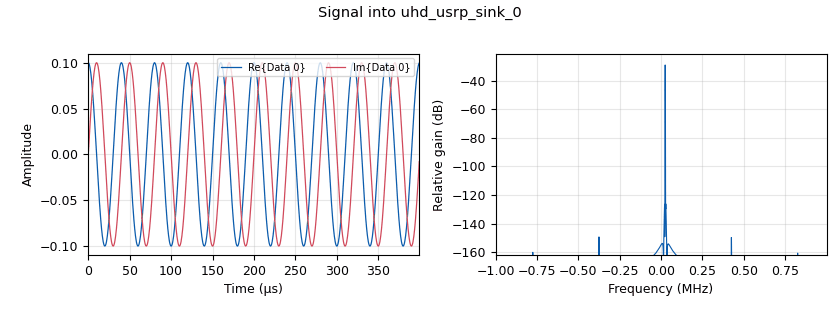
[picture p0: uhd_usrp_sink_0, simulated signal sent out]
<?xml version='1.0' encoding='utf-8'?>
<?grc format='1' created='3.7.5'?>
<flow_graph>
<block>
<key>options</key>
<param><key>id</key><value>top_block</value></param>
<param><key>generate_options</key><value>wx_gui</value></param>
<param><key>category</key><value>Custom</value></param>
</block>
<block>
<key>variable</key>
<param><key>id</key><value>samp_rate</value></param>
<param><key>value</key><value>2e6</value></param>
</block>
<block>
<key>variable</key>
<param><key>id</key><value>central_freq</value></param>
<param><key>_enabled</key><value>False</value></param>
<param><key>value</key><value>0</value></param>
</block>
<block>
<key>analog_random_source_x</key>
<param><key>id</key><value>analog_random_source_x_0</value></param>
<param><key>_enabled</key><value>False</value></param>
<param><key>type</key><value>int</value></param>
<param><key>min</key><value>0</value></param>
<param><key>max</key><value>2</value></param>
<param><key>num_samps</key><value>1000</value></param>
<param><key>repeat</key><value>True</value></param>
</block>
<block>
<key>analog_sig_source_x</key>
<param><key>id</key><value>analog_sig_source_x_0_0</value></param>
<param><key>_enabled</key><value>False</value></param>
<param><key>type</key><value>complex</value></param>
<param><key>samp_rate</key><value>samp_rate</value></param>
<param><key>waveform</key><value>analog.GR_SQR_WAVE</value></param>
<param><key>freq</key><value>freq</value></param>
<param><key>amp</key><value>0</value></param>
<param><key>offset</key><value>0</value></param>
</block>
<block>
<key>blocks_int_to_float</key>
<param><key>id</key><value>blocks_int_to_float_0_0</value></param>
<param><key>_enabled</key><value>False</value></param>
<param><key>scale</key><value>1</value></param>
</block>
<block>
<key>blocks_int_to_float</key>
<param><key>id</key><value>blocks_int_to_float_0</value></param>
<param><key>_enabled</key><value>False</value></param>
<param><key>scale</key><value>1</value></param>
</block>
<block>
<key>analog_const_source_x</key>
<param><key>id</key><value>analog_const_source_x_0_0</value></param>
<param><key>_enabled</key><value>False</value></param>
<param><key>type</key><value>int</value></param>
<param><key>const</key><value>0</value></param>
</block>
<block>
<key>wxgui_scopesink2</key>
<param><key>id</key><value>wxgui_scopesink2_0_0</value></param>
<param><key>_enabled</key><value>False</value></param>
<param><key>type</key><value>complex</value></param>
<param><key>title</key><value>Scope Plot</value></param>
<param><key>samp_rate</key><value>samp_rate</value></param>
<param><key>v_scale</key><value>0</value></param>
<param><key>v_offset</key><value>0</value></param>
<param><key>t_scale</key><value>0</value></param>
<param><key>ac_couple</key><value>False</value></param>
<param><key>xy_mode</key><value>False</value></param>
<param><key>num_inputs</key><value>1</value></param>
<param><key>trig_mode</key><value>wxgui.TRIG_MODE_AUTO</value></param>
<param><key>y_axis_label</key><value>Counts</value></param>
</block>
<block>
<key>analog_pll_refout_cc</key>
<param><key>id</key><value>analog_pll_refout_cc_0</value></param>
<param><key>_enabled</key><value>False</value></param>
<param><key>w</key><value>1e2</value></param>
<param><key>max_freq</key><value>1e2</value></param>
<param><key>min_freq</key><value>1</value></param>
</block>
<block>
<key>wxgui_scopesink2</key>
<param><key>id</key><value>wxgui_scopesink2_0_1</value></param>
<param><key>_enabled</key><value>False</value></param>
<param><key>type</key><value>complex</value></param>
<param><key>title</key><value>Scope Plot</value></param>
<param><key>samp_rate</key><value>samp_rate</value></param>
<param><key>v_scale</key><value>0</value></param>
<param><key>v_offset</key><value>0</value></param>
<param><key>t_scale</key><value>0</value></param>
<param><key>ac_couple</key><value>False</value></param>
<param><key>xy_mode</key><value>False</value></param>
<param><key>num_inputs</key><value>1</value></param>
<param><key>trig_mode</key><value>wxgui.TRIG_MODE_AUTO</value></param>
<param><key>y_axis_label</key><value>Counts</value></param>
</block>
<block>
<key>band_pass_filter</key>
<param><key>id</key><value>band_pass_filter_0</value></param>
<param><key>_enabled</key><value>False</value></param>
<param><key>type</key><value>fir_filter_ccf</value></param>
<param><key>decim</key><value>1</value></param>
<param><key>gain</key><value>1</value></param>
<param><key>samp_rate</key><value>samp_rate</value></param>
<param><key>low_cutoff_freq</key><value>1e3</value></param>
<param><key>high_cutoff_freq</key><value>100e3</value></param>
<param><key>width</key><value>1e3</value></param>
<param><key>win</key><value>firdes.WIN_HAMMING</value></param>
</block>
<block>
<key>digital_glfsr_source_x</key>
<param><key>id</key><value>digital_glfsr_source_x_0</value></param>
<param><key>_enabled</key><value>False</value></param>
<param><key>type</key><value>float</value></param>
<param><key>degree</key><value>32</value></param>
<param><key>repeat</key><value>True</value></param>
<param><key>mask</key><value>0</value></param>
<param><key>seed</key><value>1</value></param>
</block>
<block>
<key>blocks_float_to_complex</key>
<param><key>id</key><value>blocks_float_to_complex_0</value></param>
<param><key>_enabled</key><value>False</value></param>
</block>
<block>
<key>wxgui_scopesink2</key>
<param><key>id</key><value>wxgui_scopesink2_0_0_0</value></param>
<param><key>_enabled</key><value>False</value></param>
<param><key>type</key><value>complex</value></param>
<param><key>title</key><value>Scope Plot</value></param>
<param><key>samp_rate</key><value>samp_rate</value></param>
<param><key>v_scale</key><value>0</value></param>
<param><key>v_offset</key><value>0</value></param>
<param><key>t_scale</key><value>0</value></param>
<param><key>ac_couple</key><value>False</value></param>
<param><key>xy_mode</key><value>False</value></param>
<param><key>num_inputs</key><value>1</value></param>
<param><key>trig_mode</key><value>wxgui.TRIG_MODE_AUTO</value></param>
<param><key>y_axis_label</key><value>Counts</value></param>
</block>
<block>
<key>blocks_file_sink</key>
<param><key>id</key><value>blocks_file_sink_0</value></param>
<param><key>_enabled</key><value>False</value></param>
<param><key>file</key><value>/home/mvnl-tmax/front10m500kwithC1M.txt</value></param>
<param><key>type</key><value>complex</value></param>
<param><key>unbuffered</key><value>True</value></param>
</block>
<block>
<key>blocks_file_source</key>
<param><key>id</key><value>blocks_file_source_0</value></param>
<param><key>_enabled</key><value>False</value></param>
<param><key>file</key><value>/home/mvnl-tmax/Downloads/src_data_1.bin</value></param>
<param><key>type</key><value>complex</value></param>
<param><key>repeat</key><value>True</value></param>
</block>
<block>
<key>analog_const_source_x</key>
<param><key>id</key><value>analog_const_source_x_0</value></param>
<param><key>_enabled</key><value>False</value></param>
<param><key>type</key><value>complex</value></param>
<param><key>const</key><value>const_amp</value></param>
</block>
<block>
<key>uhd_usrp_sink</key>
<param><key>id</key><value>uhd_usrp_sink_0</value></param>
<param><key>type</key><value>fc32</value></param>
<param><key>dev_addr</key><value>addr=192.168.91.7</value></param>
<param><key>dev_args</key><value>""</value></param>
<param><key>sync</key><value></value></param>
<param><key>clock_rate</key><value>0.0</value></param>
<param><key>sd_spec0</key><value>A:A</value></param>
<param><key>samp_rate</key><value>samp_rate</value></param>
<param><key>center_freq0</key><value>central_freq</value></param>
<param><key>gain0</key><value>0</value></param>
<param><key>ant0</key><value></value></param>
<param><key>len_tag_name</key><value></value></param>
</block>
<block>
<key>low_pass_filter</key>
<param><key>id</key><value>low_pass_filter_0</value></param>
<param><key>_enabled</key><value>False</value></param>
<param><key>type</key><value>fir_filter_ccf</value></param>
<param><key>decim</key><value>1</value></param>
<param><key>gain</key><value>1</value></param>
<param><key>samp_rate</key><value>samp_rate</value></param>
<param><key>cutoff_freq</key><value>freq*0.75</value></param>
<param><key>width</key><value>100e3</value></param>
<param><key>win</key><value>firdes.WIN_HAMMING</value></param>
</block>
<block>
<key>wxgui_scopesink2</key>
<param><key>id</key><value>wxgui_scopesink2_0</value></param>
<param><key>type</key><value>complex</value></param>
<param><key>title</key><value>Scope Plot</value></param>
<param><key>samp_rate</key><value>samp_rate</value></param>
<param><key>v_scale</key><value>0</value></param>
<param><key>v_offset</key><value>0</value></param>
<param><key>t_scale</key><value>0</value></param>
<param><key>ac_couple</key><value>False</value></param>
<param><key>xy_mode</key><value>False</value></param>
<param><key>num_inputs</key><value>1</value></param>
<param><key>trig_mode</key><value>wxgui.TRIG_MODE_AUTO</value></param>
<param><key>y_axis_label</key><value>Counts</value></param>
</block>
<block>
<key>variable_slider</key>
<param><key>id</key><value>central_freq</value></param>
<param><key>label</key><value></value></param>
<param><key>value</key><value>0</value></param>
<param><key>min</key><value>0</value></param>
<param><key>max</key><value>20e6</value></param>
<param><key>num_steps</key><value>200</value></param>
<param><key>style</key><value>wx.SL_HORIZONTAL</value></param>
<param><key>converver</key><value>float_converter</value></param>
</block>
<block>
<key>variable_slider</key>
<param><key>id</key><value>central_freq</value></param>
<param><key>_enabled</key><value>False</value></param>
<param><key>label</key><value></value></param>
<param><key>value</key><value>2e6</value></param>
<param><key>min</key><value>0</value></param>
<param><key>max</key><value>30e6</value></param>
<param><key>num_steps</key><value>150</value></param>
<param><key>style</key><value>wx.SL_HORIZONTAL</value></param>
<param><key>converver</key><value>float_converter</value></param>
</block>
<block>
<key>variable_slider</key>
<param><key>id</key><value>freq</value></param>
<param><key>label</key><value></value></param>
<param><key>value</key><value>25e3</value></param>
<param><key>min</key><value>0</value></param>
<param><key>max</key><value>1e6</value></param>
<param><key>num_steps</key><value>200</value></param>
<param><key>style</key><value>wx.SL_HORIZONTAL</value></param>
<param><key>converver</key><value>float_converter</value></param>
</block>
<block>
<key>variable_slider</key>
<param><key>id</key><value>const_amp</value></param>
<param><key>label</key><value></value></param>
<param><key>value</key><value>0.1</value></param>
<param><key>min</key><value>0</value></param>
<param><key>max</key><value>1</value></param>
<param><key>num_steps</key><value>100</value></param>
<param><key>style</key><value>wx.SL_HORIZONTAL</value></param>
<param><key>converver</key><value>float_converter</value></param>
</block>
<block>
<key>variable_slider</key>
<param><key>id</key><value>offset</value></param>
<param><key>label</key><value></value></param>
<param><key>value</key><value>0</value></param>
<param><key>min</key><value>-1</value></param>
<param><key>max</key><value>1</value></param>
<param><key>num_steps</key><value>200</value></param>
<param><key>style</key><value>wx.SL_HORIZONTAL</value></param>
<param><key>converver</key><value>float_converter</value></param>
</block>
<block>
<key>analog_sig_source_x</key>
<param><key>id</key><value>analog_sig_source_x_0</value></param>
<param><key>type</key><value>complex</value></param>
<param><key>samp_rate</key><value>samp_rate</value></param>
<param><key>waveform</key><value>analog.GR_SIN_WAVE</value></param>
<param><key>freq</key><value>freq</value></param>
<param><key>amp</key><value>const_amp</value></param>
<param><key>offset</key><value>offset</value></param>
</block>
<block>
<key>uhd_usrp_source</key>
<param><key>id</key><value>uhd_usrp_source_RX1</value></param>
<param><key>type</key><value>fc32</value></param>
<param><key>dev_addr</key><value>addr=192.168.91.8</value></param>
<param><key>dev_args</key><value>""</value></param>
<param><key>sync</key><value></value></param>
<param><key>clock_rate</key><value>0.0</value></param>
<param><key>sd_spec0</key><value>A:A</value></param>
<param><key>samp_rate</key><value>samp_rate</value></param>
<param><key>center_freq0</key><value>central_freq</value></param>
<param><key>gain0</key><value>0</value></param>
<param><key>ant0</key><value></value></param>
</block>
<connection><source_block_id>blocks_int_to_float_0_0</source_block_id><sink_block_id>blocks_float_to_complex_0</sink_block_id><source_key>0</source_key><sink_key>1</sink_key></connection>
<connection><source_block_id>blocks_int_to_float_0</source_block_id><sink_block_id>blocks_float_to_complex_0</sink_block_id><source_key>0</source_key><sink_key>0</sink_key></connection>
<connection><source_block_id>blocks_float_to_complex_0</source_block_id><sink_block_id>wxgui_scopesink2_0_0</sink_block_id><source_key>0</source_key><sink_key>0</sink_key></connection>
<connection><source_block_id>analog_random_source_x_0</source_block_id><sink_block_id>blocks_int_to_float_0</sink_block_id><source_key>0</source_key><sink_key>0</sink_key></connection>
<connection><source_block_id>analog_const_source_x_0_0</source_block_id><sink_block_id>blocks_int_to_float_0_0</sink_block_id><source_key>0</source_key><sink_key>0</sink_key></connection>
<connection><source_block_id>low_pass_filter_0</source_block_id><sink_block_id>wxgui_scopesink2_0</sink_block_id><source_key>0</source_key><sink_key>0</sink_key></connection>
<connection><source_block_id>uhd_usrp_source_RX1</source_block_id><sink_block_id>low_pass_filter_0</sink_block_id><source_key>0</source_key><sink_key>0</sink_key></connection>
<connection><source_block_id>uhd_usrp_source_RX1</source_block_id><sink_block_id>analog_pll_refout_cc_0</sink_block_id><source_key>0</source_key><sink_key>0</sink_key></connection>
<connection><source_block_id>analog_pll_refout_cc_0</source_block_id><sink_block_id>wxgui_scopesink2_0_1</sink_block_id><source_key>0</source_key><sink_key>0</sink_key></connection>
<connection><source_block_id>band_pass_filter_0</source_block_id><sink_block_id>wxgui_scopesink2_0</sink_block_id><source_key>0</source_key><sink_key>0</sink_key></connection>
<connection><source_block_id>low_pass_filter_0</source_block_id><sink_block_id>blocks_file_sink_0</sink_block_id><source_key>0</source_key><sink_key>0</sink_key></connection>
<connection><source_block_id>analog_sig_source_x_0</source_block_id><sink_block_id>wxgui_scopesink2_0_0_0</sink_block_id><source_key>0</source_key><sink_key>0</sink_key></connection>
<connection><source_block_id>analog_const_source_x_0</source_block_id><sink_block_id>uhd_usrp_sink_0</sink_block_id><source_key>0</source_key><sink_key>0</sink_key></connection>
<connection><source_block_id>analog_sig_source_x_0</source_block_id><sink_block_id>uhd_usrp_sink_0</sink_block_id><source_key>0</source_key><sink_key>0</sink_key></connection>
<connection><source_block_id>uhd_usrp_source_RX1</source_block_id><sink_block_id>band_pass_filter_0</sink_block_id><source_key>0</source_key><sink_key>0</sink_key></connection>
<connection><source_block_id>uhd_usrp_source_RX1</source_block_id><sink_block_id>wxgui_scopesink2_0</sink_block_id><source_key>0</source_key><sink_key>0</sink_key></connection>
</flow_graph>
